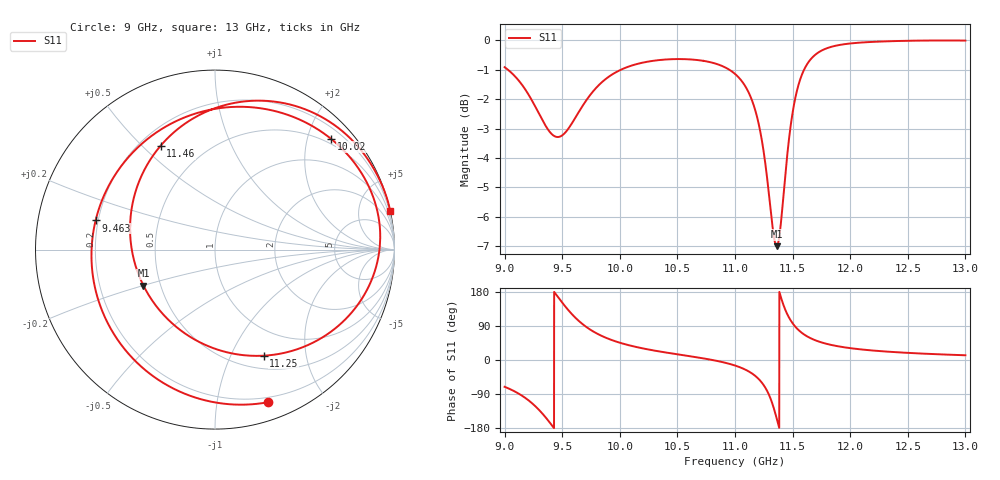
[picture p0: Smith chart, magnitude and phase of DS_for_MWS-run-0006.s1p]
! TOUCHSTONE file generated by CST DESIGN STUDIO
! Date and time: Tue Feb  4 18:27:27 2025
! Project name: C:\Work\MatlabApps\UnitCellOptimizationMatlab\CST\unitcell.cst
! Tree item: Tasks\Sweep1\SPara1\S-Parameters
! Header version: 2024
! Port assignment regex: !\s*Touchstone port\s*([0-9]+)\s*=\s*(CST MWS port|CST DES external port|CST DES block port)\s*(.+)\s* \(\"(.*)\"\)(\s*mode\s*([0-9]+))?.*
! Touchstone port assignment:
! Touchstone port 1 = CST DES external port 1 ("")
# GHz S MA R 50
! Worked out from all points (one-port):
!   4001 points, 9 GHz to 13 GHz, reference 50 ohm
!   lowest |S11| = -7.0 dB at 11.36 GHz (marker M1), VSWR 2.61, Z = 20.1 - j10.1 ohm
!   |S11| at or under -10 dB: nowhere
!   S11 on the Smith chart (normalised r, x): 9 GHz: 0.16, -1.40; 9.463 GHz: 0.19, +0.12; 10.02 GHz: 0.40, +2.44; 11.25 GHz: 0.65, -1.34; 11.46 GHz: 0.28, +0.57; 13 GHz: 0.02, +9.14
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9  0.9004 -70.8
9.14  0.846 -92.0
9.245  0.7853 -115.9
9.367  0.7098 -155.5
9.463  0.6847 166.3
9.5  0.6892 151.5
9.593  0.7271 118.1
9.691  0.7812 91.3
9.838  0.8467 64.3
10  0.8897 45.6
10.022  0.8938 43.6
10.229  0.9192 28.9
10.5  0.9296 15.0
10.797  0.9171 0.4
11  0.8771 -14.6
11.143  0.7948 -34.6
11.247  0.6501 -65.4
11.307  0.5196 -100.6
11.361  0.4463 -153.3
11.407  0.5082 157.3
11.459  0.6532 117.6
11.5  0.7534 97.0
11.59  0.8832 69.4
11.688  0.9423 53.2
11.818  0.973 40.9
12  0.9882 31.3
12.5  0.9987 18.8
13  0.9995 12.5
